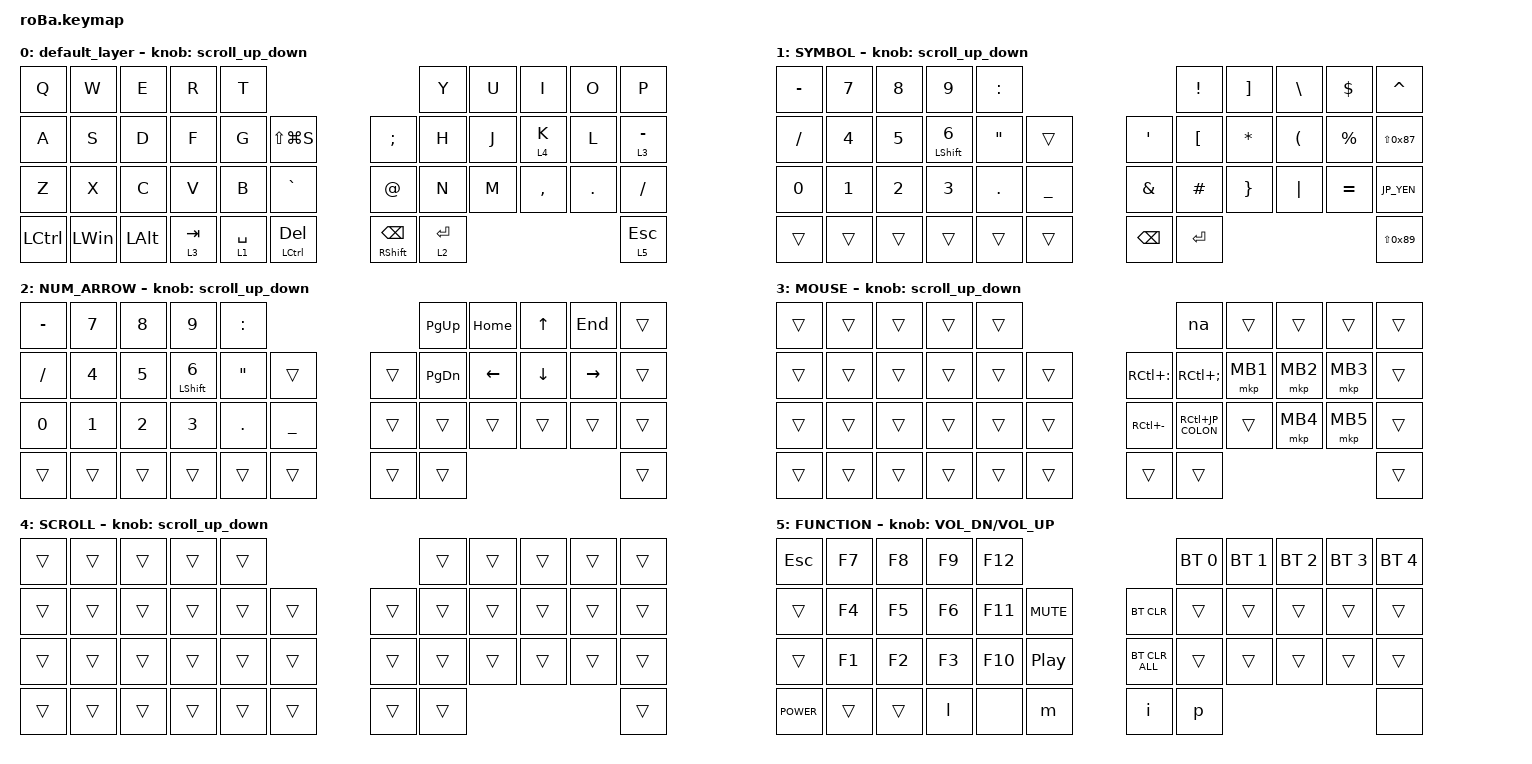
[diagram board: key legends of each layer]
#include <input/processors.dtsi>
#include <behaviors.dtsi>
#include <dt-bindings/zmk/bt.h>
#include <dt-bindings/zmk/keys.h>
#include <dt-bindings/zmk/pointing.h>

#define MOUSE 3
#define SCROLL 4
#define NUM 2
#define ZMK_POINTING_DEFAULT_SCRL_VAL 100
#define JP_DQUOTE       AT                // "
#define JP_AMPERSAND    CARET             // &
#define JP_QUOTE        AMPERSAND         // '
#define JP_EQUAL        UNDER             // =
#define JP_CARET        EQUAL             // ^
#define JP_YEN          0x89              // ¥
#define JP_PLUS         COLON             // +
#define JP_TILDE        PLUS              // ~
#define JP_PIPE         LS(0x89)          // |
#define JP_AT           LEFT_BRACKET      // @
#define JP_COLON        SINGLE_QUOTE      // :
#define JP_ASTERISK     DOUBLE_QUOTES     // *
#define JP_BACKQUOTE    LEFT_BRACE        // `
#define JP_UNDERSCORE   LS(0x87)          // _
#define JP_LBRACKET     RIGHT_BRACKET     // [
#define JP_RBRACKET     BACKSLASH         // ]
#define JP_LPAREN       ASTERISK          // (
#define JP_RPAREN       LEFT_PARENTHESIS  // )
#define JP_LBRACE       RIGHT_BRACE       // {
#define JP_RBRACE       PIPE              // }
#define JP_KANA         LANGUAGE_1        // かな
#define JP_EISU         LANGUAGE_2        // 英数
#define JP_HANZEN       GRAVE             // 半角/全角

&mt {
    flavor = "balanced";
    quick-tap-ms = <0>;
};

&sl { release-after-ms = <250>; };

/ {
    combos {
        compatible = "zmk,combos";

        alt_tab {
            bindings = <&kp LEFT_ALT>;
            key-positions = <12 13>;
        };

        mb1 {
            bindings = <&mkp MB1>;
            key-positions = <18 19>;
        };

        win_tab {
            bindings = <&kp LG(TAB)>;
            key-positions = <24 25>;
        };

        win_shift_right {
            bindings = <&kp LG(LS(RIGHT))>;
            key-positions = <13 20>;
        };

        win_shift_left {
            bindings = <&kp LS(LG(LEFT))>;
            key-positions = <13 18>;
        };

        win_shift_up {
            bindings = <&kp LS(LG(UP_ARROW))>;
            key-positions = <13 7>;
        };

        win_shift_down {
            bindings = <&kp LS(LG(DOWN_ARROW))>;
            key-positions = <13 19>;
        };

        change {
            bindings = <&kp LA(GRAVE)>;
            key-positions = <38 41>;
        };

        mb2 {
            bindings = <&mkp MB2>;
            key-positions = <19 20>;
        };

        mb3 {
            bindings = <&mkp MB3>;
            key-positions = <18 19 20>;
        };
    };

    macros {
        tog_off: toggle_layer_off {
            compatible = "zmk,behavior-toggle-layer";
            #binding-cells = <1>;
            display-name = "Toggle Layer Off";
            toggle-mode = "off";
        };

        to_layer_0: to_layer_0 {
            compatible = "zmk,behavior-macro-one-param";
            #binding-cells = <1>;
            bindings = <&to 0 &macro_param_1to1 &kp MACRO_PLACEHOLDER>;
            label = "TO_LAYER_0";
        };

        mkp_exit_AML: mkp_exit_AML {
            compatible = "zmk,behavior-macro-one-param";
            #binding-cells = <1>;
            bindings =
                <&macro_press>,
                <&macro_param_1to1 &mkp MACRO_PLACEHOLDER>,
                <&macro_pause_for_release>,
                <&macro_release>,
                <&macro_param_1to1 &mkp MACRO_PLACEHOLDER>,
                <&macro_tap>,
                <&sl 3>;

            label = "MKP_EXIT_AML";
        };

        m: m {
            compatible = "zmk,behavior-macro";
            #binding-cells = <0>;
            bindings = <&kp T &kp J &kp G &kp NUMBER_2 &kp N8 &kp NUMBER_1 &kp NUMBER_4 &kp N5 &kp JP_AT &kp T &kp E &kp I &kp J &kp I &kp N &kp PERIOD &kp C &kp O &kp PERIOD &kp J &kp P>;
            label = "M";
        };

        p: p {
            compatible = "zmk,behavior-macro";
            #binding-cells = <0>;
            bindings = <&kp N &kp Y &kp NUMBER_1 &kp N9 &kp NUMBER_2 &kp NUMBER_4 &kp NUMBER_4 &kp NUMBER_2 &kp NUMBER_9 &kp NUMBER_1>;
            label = "P";
        };

        i: i {
            compatible = "zmk,behavior-macro";
            #binding-cells = <0>;
            bindings = <&kp T &kp J &kp G &kp NUMBER_2 &kp N8 &kp NUMBER_1 &kp NUMBER_4 &kp N5>;
            label = "I";
        };

        l: l {
            compatible = "zmk,behavior-macro";
            #binding-cells = <0>;
            bindings = <&kp T &kp J &kp G &kp NUMBER_2 &kp N8 &kp NUMBER_1 &kp NUMBER_4 &kp N5 &kp JP_AT &kp T &kp E &kp I &kp J &kp I &kp N &kp PERIOD &kp C &kp O &kp PERIOD &kp J &kp P &kp TAB &kp N &kp Y &kp NUMBER_1 &kp N9 &kp NUMBER_2 &kp NUMBER_4 &kp NUMBER_4 &kp NUMBER_2 &kp N9 &kp NUMBER_1 &kp TAB>;
            label = "L";
        };

        na: na {
            compatible = "zmk,behavior-macro";
            #binding-cells = <0>;
            bindings = <&kp Y &kp A &kp M &kp A &kp D &kp A &kp K &kp Y &kp O &kp U &kp H &kp E &kp I &kp SPACE &kp ENTER>;
            label = "NA";
        };
    };

    behaviors {
        scroll_up_down: mouse_wheel_up_down {
            compatible = "zmk,behavior-sensor-rotate";
            #sensor-binding-cells = <0>;
            bindings = <&msc SCRL_DOWN>, <&msc SCRL_UP>;

            tap-ms = <20>;
        };
    };

    keymap {
        compatible = "zmk,keymap";

        default_layer {
            bindings = <
&kp Q      &kp W         &kp E         &kp R      &kp T                                                             &kp Y        &kp U  &kp I      &kp O       &kp P
&kp A      &kp S         &kp D         &kp F      &kp G        &kp LS(LG(S))             &kp SEMICOLON              &kp H        &kp J  &lt 4 K    &kp L       &lt 3 MINUS
&kp Z      &kp X         &kp C         &kp V      &kp B        &kp JP_HANZEN             &kp JP_DQUOTE              &kp N        &kp M  &kp COMMA  &kp PERIOD  &kp SLASH
&kp LCTRL  &kp LEFT_WIN  &kp LEFT_ALT  &lt 3 TAB  &lt 1 SPACE  &mt LEFT_CONTROL DEL      &mt RIGHT_SHIFT BACKSPACE  &lt 2 ENTER                                &lt 5 ESC
            >;

            sensor-bindings = <&scroll_up_down>;
        };

        SYMBOL {
            bindings = <
&kp MINUS  &kp N7  &kp N8  &kp N9             &kp JP_PLUS                                       &kp EXCLAMATION  &kp JP_LBRACKET  &kp JP_RBRACKET  &kp DOLLAR    &kp JP_AMPERSAND
&kp SLASH  &kp N4  &kp N5  &mt LEFT_SHIFT N6  &kp JP_ASTERISK  &trans            &kp JP_COLON   &kp JP_AT        &kp JP_LPAREN    &kp JP_RPAREN    &kp PERCENT   &kp JP_UNDERSCORE
&kp N0     &kp N1  &kp N2  &kp N3             &kp PERIOD       &kp JP_EQUAL      &kp JP_QUOTE   &kp HASH         &kp JP_LBRACE    &kp JP_RBRACE    &kp JP_CARET  &kp JP_YEN
&trans     &trans  &trans  &trans             &trans           &trans            &kp BACKSPACE  &kp ENTER                                                        &kp JP_PIPE
            >;

            sensor-bindings = <&scroll_up_down>;
        };

        NUM_ARROW {
            bindings = <
&kp MINUS  &kp N7  &kp N8  &kp N9             &kp JP_PLUS                                &kp PAGE_UP    &kp HOME        &kp UP_ARROW    &kp END          &trans
&kp SLASH  &kp N4  &kp N5  &mt LEFT_SHIFT N6  &kp JP_ASTERISK  &trans            &trans  &kp PAGE_DOWN  &kp LEFT_ARROW  &kp DOWN_ARROW  &kp RIGHT_ARROW  &trans
&kp N0     &kp N1  &kp N2  &kp N3             &kp PERIOD       &kp JP_EQUAL      &trans  &trans         &trans          &trans          &trans           &trans
&trans     &trans  &trans  &trans             &trans           &trans            &trans  &trans                                                          &trans
            >;

            sensor-bindings = <&scroll_up_down>;
        };

        MOUSE {
            bindings = <
&trans  &trans  &trans  &trans  &trans                             &na                &trans    &trans    &trans    &trans
&trans  &trans  &trans  &trans  &trans  &trans      &kp RC(COLON)  &kp RC(SEMICOLON)  &mkp MB1  &mkp MB2  &mkp MB3  &trans
&trans  &trans  &trans  &trans  &trans  &trans      &kp RC(MINUS)  &kp RC(JP_COLON)   &trans    &mkp MB4  &mkp MB5  &trans
&trans  &trans  &trans  &trans  &trans  &trans      &trans         &trans                                           &trans
            >;

            sensor-bindings = <&scroll_up_down>;
        };

        SCROLL {
            bindings = <
&trans  &trans  &trans  &trans  &trans                      &trans  &trans  &trans  &trans  &trans
&trans  &trans  &trans  &trans  &trans  &trans      &trans  &trans  &trans  &trans  &trans  &trans
&trans  &trans  &trans  &trans  &trans  &trans      &trans  &trans  &trans  &trans  &trans  &trans
&trans  &trans  &trans  &trans  &trans  &trans      &trans  &trans                          &trans
            >;

            sensor-bindings = <&scroll_up_down>;
        };

        FUNCTION {
            bindings = <
&kp ESCAPE   &kp F7  &kp F8  &kp F9  &kp F12                                        &bt BT_SEL 0  &bt BT_SEL 1  &bt BT_SEL 2  &bt BT_SEL 3  &bt BT_SEL 4
&trans       &kp F4  &kp F5  &kp F6  &kp F11  &kp C_MUTE            &bt BT_CLR      &trans        &trans        &trans        &trans        &trans
&trans       &kp F1  &kp F2  &kp F3  &kp F10  &kp C_PLAY_PAUSE      &bt BT_CLR_ALL  &trans        &trans        &trans        &trans        &trans
&kp C_POWER  &trans  &trans  &l      &none    &m                    &i              &p                                                      &none
            >;

            sensor-bindings = <&inc_dec_kp C_VOL_DN C_VOL_UP>;
        };
    };
};
